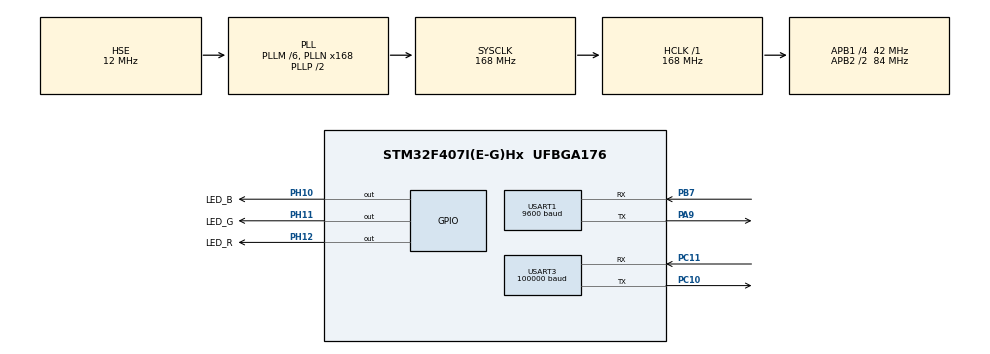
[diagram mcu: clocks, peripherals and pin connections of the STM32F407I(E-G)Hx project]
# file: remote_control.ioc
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Dma.Request0=USART3_RX
Dma.Request1=USART1_TX
Dma.USART1_TX.1.Direction=DMA_MEMORY_TO_PERIPH
Dma.USART1_TX.1.FIFOMode=DMA_FIFOMODE_DISABLE
Dma.USART1_TX.1.Instance=DMA2_Stream7
Dma.USART1_TX.1.MemDataAlignment=DMA_MDATAALIGN_BYTE
Dma.USART1_TX.1.MemInc=DMA_MINC_ENABLE
Dma.USART1_TX.1.Mode=DMA_NORMAL
Dma.USART1_TX.1.PeriphDataAlignment=DMA_PDATAALIGN_BYTE
Dma.USART1_TX.1.PeriphInc=DMA_PINC_DISABLE
Dma.USART1_TX.1.Priority=DMA_PRIORITY_VERY_HIGH
Dma.USART3_RX.0.Direction=DMA_PERIPH_TO_MEMORY
Dma.USART3_RX.0.FIFOMode=DMA_FIFOMODE_DISABLE
Dma.USART3_RX.0.Instance=DMA1_Stream1
Dma.USART3_RX.0.MemDataAlignment=DMA_MDATAALIGN_BYTE
Dma.USART3_RX.0.MemInc=DMA_MINC_ENABLE
Dma.USART3_RX.0.Mode=DMA_CIRCULAR
Dma.USART3_RX.0.PeriphDataAlignment=DMA_PDATAALIGN_BYTE
Dma.USART3_RX.0.PeriphInc=DMA_PINC_DISABLE
Dma.USART3_RX.0.Priority=DMA_PRIORITY_VERY_HIGH
Mcu.Family=STM32F4
Mcu.Name=STM32F407I(E-G)Hx
Mcu.Package=UFBGA176
NVIC.DMA1_Stream1_IRQn=true\:0\:0\:false\:false\:false\:false\:true
NVIC.DMA2_Stream7_IRQn=true\:0\:0\:false\:false\:true\:false\:true
NVIC.PriorityGroup=NVIC_PRIORITYGROUP_4
NVIC.USART1_IRQn=true\:0\:0\:false\:false\:false\:true\:true
NVIC.USART3_IRQn=true\:0\:0\:false\:false\:false\:true\:true
PA13.Mode=Serial_Wire
PA13.Signal=SYS_JTMS-SWDIO
PA14.Mode=Serial_Wire
PA14.Signal=SYS_JTCK-SWCLK
PA9.Mode=Asynchronous
PA9.Signal=USART1_TX
PB7.Mode=Asynchronous
PB7.Signal=USART1_RX
PC10.Mode=Asynchronous
PC10.Signal=USART3_TX
PC11.Mode=Asynchronous
PC11.Signal=USART3_RX
PH0-OSC_IN.Mode=HSE-External-Oscillator
PH0-OSC_IN.Signal=RCC_OSC_IN
PH1-OSC_OUT.Mode=HSE-External-Oscillator
PH1-OSC_OUT.Signal=RCC_OSC_OUT
PH10.GPIO_Label=LED_B
PH10.GPIO_PuPd=GPIO_PULLUP
PH10.GPIO_Speed=GPIO_SPEED_FREQ_HIGH
PH10.PinState=GPIO_PIN_SET
PH10.Signal=GPIO_Output
PH11.GPIO_Label=LED_G
PH11.GPIO_PuPd=GPIO_PULLUP
PH11.GPIO_Speed=GPIO_SPEED_FREQ_HIGH
PH11.PinState=GPIO_PIN_SET
PH11.Signal=GPIO_Output
PH12.GPIO_Label=LED_R
PH12.GPIO_PuPd=GPIO_PULLUP
PH12.GPIO_Speed=GPIO_SPEED_FREQ_HIGH
PH12.PinState=GPIO_PIN_SET
PH12.Signal=GPIO_Output
ProjectManager.HeapSize=0x200
ProjectManager.StackSize=0x400
ProjectManager.TargetToolchain=MDK-ARM V5
RCC.48MHZClocksFreq_Value=84000000
RCC.AHBFreq_Value=168000000
RCC.APB1CLKDivider=RCC_HCLK_DIV4
RCC.APB1Freq_Value=42000000
RCC.APB1TimFreq_Value=84000000
RCC.APB2CLKDivider=RCC_HCLK_DIV2
RCC.APB2Freq_Value=84000000
RCC.APB2TimFreq_Value=168000000
RCC.CortexFreq_Value=168000000
RCC.HCLKFreq_Value=168000000
RCC.HSE_VALUE=12000000
RCC.HSI_VALUE=16000000
RCC.LSE_VALUE=32768
RCC.PLLM=6
RCC.PLLN=168
RCC.PLLSourceVirtual=RCC_PLLSOURCE_HSE
RCC.SYSCLKFreq_VALUE=168000000
RCC.SYSCLKSource=RCC_SYSCLKSOURCE_PLLCLK
RCC.VCOOutputFreq_Value=336000000
USART1.BaudRate=9600
USART1.VirtualMode=VM_ASYNC
USART3.BaudRate=100000
USART3.Mode=MODE_RX
USART3.Parity=PARITY_EVEN
USART3.VirtualMode=VM_ASYNC
board=custom

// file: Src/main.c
/* USER CODE BEGIN Header */
/**
  ******************************************************************************
  * @file           : main.c
  * @brief          : Main program body
  ******************************************************************************
  * @attention
  *
  * <h2><center>&copy; Copyright (c) 2019 STMicroelectronics.
  * All rights reserved.</center></h2>
  *
  * This software component is licensed by ST under BSD 3-Clause license,
  * the "License"; You may not use this file except in compliance with the
  * License. You may obtain a copy of the License at:
  *                        opensource.org/licenses/BSD-3-Clause
  *
  ******************************************************************************
  */
/* USER CODE END Header */
#include "main.h"
#include "dma.h"
#include "usart.h"
#include "gpio.h"

/* USER CODE BEGIN Includes */

#include "remote_control.h"
#include "bsp_usart.h"
#include <stdio.h>
#include <stdarg.h>
#include "string.h"
/* USER CODE END Includes */

void SystemClock_Config(void);

/* USER CODE BEGIN 0 */
const RC_ctrl_t *local_rc_ctrl;

void usart_printf(const char *fmt,...)
{
    static uint8_t tx_buf[256] = {0};
    static va_list ap;
    static uint16_t len;
    va_start(ap, fmt);

    //return length of string
    //返回字符串长度
    len = vsprintf((char *)tx_buf, fmt, ap);

    va_end(ap);

    usart1_tx_dma_enable(tx_buf, len);

}

/* USER CODE END 0 */

int main(void)
{

  /* MCU Configuration--------------------------------------------------------*/

  /* Reset of all peripherals, Initializes the Flash interface and the Systick. */
  HAL_Init();

  /* Configure the system clock */
  SystemClock_Config();

  /* Initialize all configured peripherals */
  MX_GPIO_Init();
  MX_DMA_Init();
  MX_USART1_UART_Init();
  MX_USART3_UART_Init();
  /* USER CODE BEGIN 2 */
    remote_control_init();
    usart1_tx_dma_init();
    local_rc_ctrl = get_remote_control_point();
  /* USER CODE END 2 */

  /* Infinite loop */
  while (1)
  {

    /* USER CODE BEGIN 3 */
        usart_printf(
"**********\r\n\
ch0:%d\r\n\
ch1:%d\r\n\
ch2:%d\r\n\
ch3:%d\r\n\
ch4:%d\r\n\
s1:%d\r\n\
s2:%d\r\n\
mouse_x:%d\r\n\
mouse_y:%d\r\n\
press_l:%d\r\n\
press_r:%d\r\n\
key:%d\r\n\
**********\r\n",
            local_rc_ctrl->rc.ch[0], local_rc_ctrl->rc.ch[1], local_rc_ctrl->rc.ch[2], local_rc_ctrl->rc.ch[3], local_rc_ctrl->rc.ch[4],
            local_rc_ctrl->rc.s[0], local_rc_ctrl->rc.s[1],
            local_rc_ctrl->mouse.x, local_rc_ctrl->mouse.y,local_rc_ctrl->mouse.z, local_rc_ctrl->mouse.press_l, local_rc_ctrl->mouse.press_r,
            local_rc_ctrl->key.v);

        HAL_Delay(1000);
  }
  /* USER CODE END 3 */
}

void SystemClock_Config(void)
{
  RCC_OscInitTypeDef RCC_OscInitStruct = {0};
  RCC_ClkInitTypeDef RCC_ClkInitStruct = {0};

  /** Configure the main internal regulator output voltage
  */
  __HAL_RCC_PWR_CLK_ENABLE();
  __HAL_PWR_VOLTAGESCALING_CONFIG(PWR_REGULATOR_VOLTAGE_SCALE1);
  /** Initializes the RCC Oscillators according to the specified parameters
  * in the RCC_OscInitTypeDef structure.
  */
  RCC_OscInitStruct.OscillatorType = RCC_OSCILLATORTYPE_HSE;
  RCC_OscInitStruct.HSEState = RCC_HSE_ON;
  RCC_OscInitStruct.PLL.PLLState = RCC_PLL_ON;
  RCC_OscInitStruct.PLL.PLLSource = RCC_PLLSOURCE_HSE;
  RCC_OscInitStruct.PLL.PLLM = 6;
  RCC_OscInitStruct.PLL.PLLN = 168;
  RCC_OscInitStruct.PLL.PLLP = RCC_PLLP_DIV2;
  RCC_OscInitStruct.PLL.PLLQ = 4;
  if (HAL_RCC_OscConfig(&RCC_OscInitStruct) != HAL_OK)
  {
    Error_Handler();
  }
  /** Initializes the CPU, AHB and APB buses clocks
  */
  RCC_ClkInitStruct.ClockType = RCC_CLOCKTYPE_HCLK|RCC_CLOCKTYPE_SYSCLK
                              |RCC_CLOCKTYPE_PCLK1|RCC_CLOCKTYPE_PCLK2;
  RCC_ClkInitStruct.SYSCLKSource = RCC_SYSCLKSOURCE_PLLCLK;
  RCC_ClkInitStruct.AHBCLKDivider = RCC_SYSCLK_DIV1;
  RCC_ClkInitStruct.APB1CLKDivider = RCC_HCLK_DIV4;
  RCC_ClkInitStruct.APB2CLKDivider = RCC_HCLK_DIV2;

  if (HAL_RCC_ClockConfig(&RCC_ClkInitStruct, FLASH_LATENCY_5) != HAL_OK)
  {
    Error_Handler();
  }
}

void Error_Handler(void)
{
}

/************************ (C) COPYRIGHT STMicroelectronics *****END OF FILE****/
